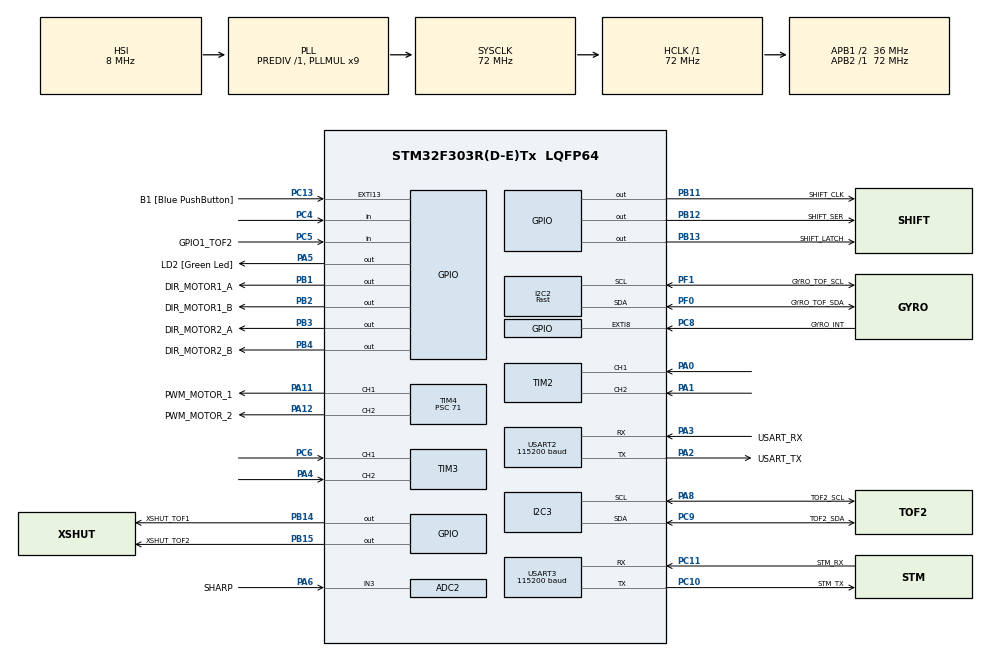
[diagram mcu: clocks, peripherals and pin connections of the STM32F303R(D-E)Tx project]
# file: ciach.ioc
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ADC2.Channel-0\#ChannelRegularConversion=ADC_CHANNEL_3
ADC2.NbrOfConversionFlag=1
ADC2.Offset-0\#ChannelRegularConversion=0
ADC2.OffsetNumber-0\#ChannelRegularConversion=ADC_OFFSET_NONE
ADC2.Rank-0\#ChannelRegularConversion=1
ADC2.SamplingTime-0\#ChannelRegularConversion=ADC_SAMPLETIME_61CYCLES_5
ADC2.SamplingTimeOPAMP-0\#ChannelRegularConversion=ADC_SAMPLETIME_61CYCLES_5
Dma.ADC2.0.Direction=DMA_PERIPH_TO_MEMORY
Dma.ADC2.0.Instance=DMA2_Channel1
Dma.ADC2.0.MemDataAlignment=DMA_MDATAALIGN_HALFWORD
Dma.ADC2.0.MemInc=DMA_MINC_DISABLE
Dma.ADC2.0.Mode=DMA_CIRCULAR
Dma.ADC2.0.PeriphDataAlignment=DMA_PDATAALIGN_HALFWORD
Dma.ADC2.0.PeriphInc=DMA_PINC_DISABLE
Dma.ADC2.0.Priority=DMA_PRIORITY_LOW
Dma.Request0=ADC2
I2C2.I2C_Speed_Mode=I2C_Fast
I2C2.Timing=0x0000020B
Mcu.Family=STM32F3
Mcu.Name=STM32F303R(D-E)Tx
Mcu.Package=LQFP64
NVIC.ADC1_2_IRQn=true\:0\:0\:false\:false\:true\:true\:true
NVIC.DMA2_Channel1_IRQn=true\:0\:0\:false\:false\:true\:false\:true
NVIC.EXTI15_10_IRQn=true\:0\:0\:false\:false\:true\:true\:true
NVIC.EXTI9_5_IRQn=true\:0\:0\:false\:false\:true\:true\:true
NVIC.PriorityGroup=NVIC_PRIORITYGROUP_0
PA0.Signal=S_TIM2_CH1_ETR
PA1.Signal=S_TIM2_CH2
PA11.GPIO_Label=PWM_MOTOR_1
PA11.GPIO_PuPd=GPIO_PULLUP
PA11.Signal=S_TIM4_CH1
PA12.GPIO_Label=PWM_MOTOR_2
PA12.GPIO_PuPd=GPIO_PULLUP
PA12.Signal=S_TIM4_CH2
PA13.GPIO_Label=TMS
PA13.Signal=SYS_JTMS-SWDIO
PA14.GPIO_Label=TCK
PA14.Signal=SYS_JTCK-SWCLK
PA2.GPIO_Label=USART_TX
PA2.GPIO_Mode=GPIO_MODE_AF_PP
PA2.GPIO_PuPd=GPIO_NOPULL
PA2.GPIO_Speed=GPIO_SPEED_FREQ_LOW
PA2.Mode=Asynchronous
PA2.Signal=USART2_TX
PA3.GPIO_Label=USART_RX
PA3.GPIO_Mode=GPIO_MODE_AF_PP
PA3.GPIO_PuPd=GPIO_NOPULL
PA3.GPIO_Speed=GPIO_SPEED_FREQ_LOW
PA3.Mode=Asynchronous
PA3.Signal=USART2_RX
PA4.Signal=S_TIM3_CH2
PA5.GPIO_Label=LD2 [Green Led]
PA5.GPIO_PuPd=GPIO_NOPULL
PA5.GPIO_Speed=GPIO_SPEED_FREQ_LOW
PA5.Signal=GPIO_Output
PA6.GPIO_Label=SHARP
PA6.Mode=IN3-Single-Ended
PA6.Signal=ADC2_IN3
PA8.GPIO_Label=TOF2_SCL
PA8.Mode=I2C
PA8.Signal=I2C3_SCL
PB1.GPIO_Label=DIR_MOTOR1_A
PB1.Signal=GPIO_Output
PB11.GPIO_Label=SHIFT_CLK
PB11.Signal=GPIO_Output
PB12.GPIO_Label=SHIFT_SER
PB12.Signal=GPIO_Output
PB13.GPIO_Label=SHIFT_LATCH
PB13.Signal=GPIO_Output
PB14.GPIO_Label=XSHUT_TOF1
PB14.Signal=GPIO_Output
PB15.GPIO_Label=XSHUT_TOF2
PB15.Signal=GPIO_Output
PB2.GPIO_Label=DIR_MOTOR1_B
PB2.Signal=GPIO_Output
PB3.GPIO_Label=DIR_MOTOR2_A
PB3.Signal=GPIO_Output
PB4.GPIO_Label=DIR_MOTOR2_B
PB4.Signal=GPIO_Output
PC10.GPIO_Label=STM_TX
PC10.Mode=Asynchronous
PC10.Signal=USART3_TX
PC11.GPIO_Label=STM_RX
PC11.Mode=Asynchronous
PC11.Signal=USART3_RX
PC13.GPIO_Label=B1 [Blue PushButton]
PC13.GPIO_ModeDefaultEXTI=GPIO_MODE_IT_FALLING
PC13.GPIO_PuPd=GPIO_PULLUP
PC13.Signal=GPXTI13
PC4.Signal=GPIO_Input
PC5.GPIO_Label=GPIO1_TOF2
PC5.Signal=GPIO_Input
PC6.Signal=S_TIM3_CH1
PC8.GPIO_Label=GYRO_INT
PC8.GPIO_PuPd=GPIO_PULLUP
PC8.Signal=GPXTI8
PC9.GPIO_Label=TOF2_SDA
PC9.Mode=I2C
PC9.Signal=I2C3_SDA
PF0-OSC_IN.GPIO_Label=GYRO_TOF_SDA
PF0-OSC_IN.Mode=I2C
PF0-OSC_IN.Signal=I2C2_SDA
PF1-OSC_OUT.GPIO_Label=GYRO_TOF_SCL
PF1-OSC_OUT.Mode=I2C
PF1-OSC_OUT.Signal=I2C2_SCL
ProjectManager.HeapSize=0x200
ProjectManager.StackSize=0x400
ProjectManager.TargetToolchain=STM32CubeIDE
RCC.AHBFreq_Value=72000000
RCC.APB1CLKDivider=RCC_HCLK_DIV2
RCC.APB1Freq_Value=36000000
RCC.APB1TimFreq_Value=72000000
RCC.APB2Freq_Value=72000000
RCC.APB2TimFreq_Value=72000000
RCC.CortexFreq_Value=72000000
RCC.HCLKFreq_Value=72000000
RCC.HSE_VALUE=8000000
RCC.HSI_VALUE=8000000
RCC.LSE_VALUE=32768
RCC.PLLM=8
RCC.PLLMUL=RCC_PLL_MUL9
RCC.PLLN=336
RCC.PLLP=RCC_PLLP_DIV4
RCC.PLLQ=7
RCC.RCC_PLLsource_Clock_Source_FROM_HSE=RCC_HSE_PREDIV_DIV2
RCC.SYSCLKFreq_VALUE=72000000
RCC.SYSCLKSourceVirtual=RCC_SYSCLKSOURCE_PLLCLK
RCC.USBFreq_Value=72000000
SH.S_TIM2_CH1_ETR.0=TIM2_CH1,Encoder_Interface
SH.S_TIM2_CH2.0=TIM2_CH2,Encoder_Interface
SH.S_TIM3_CH1.0=TIM3_CH1,Encoder_Interface
SH.S_TIM3_CH2.0=TIM3_CH2,Encoder_Interface
SH.S_TIM4_CH1.0=TIM4_CH1,PWM Generation1 CH1
SH.S_TIM4_CH2.0=TIM4_CH2,PWM Generation2 CH2
TIM2.EncoderMode=TIM_ENCODERMODE_TI1
TIM2.IC1Filter=5
TIM2.IC2Filter=5
TIM3.IC1Filter=5
TIM3.IC2Filter=5
TIM4.AutoReloadPreload=TIM_AUTORELOAD_PRELOAD_ENABLE
TIM4.Channel-PWM\ Generation1\ CH1=TIM_CHANNEL_1
TIM4.Channel-PWM\ Generation2\ CH2=TIM_CHANNEL_2
TIM4.Period=999
TIM4.Prescaler=71
TIM4.Pulse-PWM\ Generation1\ CH1=0
TIM4.Pulse-PWM\ Generation2\ CH2=0
USART2.BaudRate=115200
USART2.VirtualMode-Asynchronous=VM_ASYNC
USART3.BaudRate=115200
USART3.VirtualMode-Asynchronous=VM_ASYNC
VP_TIM4_VS_ClockSourceINT.Mode=Internal
board=NUCLEO-F303RE

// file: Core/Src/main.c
/* USER CODE BEGIN Header */
/**
  ******************************************************************************
  * @file           : main.c
  * @brief          : Main program body
  ******************************************************************************
  * @attention
  *
  * <h2><center>&copy; Copyright (c) 2024 STMicroelectronics.
  * All rights reserved.</center></h2>
  *
  * This software component is licensed by ST under BSD 3-Clause license,
  * the "License"; You may not use this file except in compliance with the
  * License. You may obtain a copy of the License at:
  *                        opensource.org/licenses/BSD-3-Clause
  *
  ******************************************************************************
  */
/* USER CODE END Header */

#include "main.h"
#include "adc.h"
#include "dma.h"
#include "i2c.h"
#include "tim.h"
#include "usart.h"
#include "gpio.h"

/* USER CODE BEGIN Includes */
#include <string.h>
#include "vl53l0x.h"
#include "mpu6050.h"
#include "stm_esp_transfer.h"
#include "sharp.h"
#include "pid.h"
#include "motor.h"
#include <stdlib.h>
/* USER CODE END Includes */

/* USER CODE BEGIN PM */
//#define CONVERT_ADC_TO_DISTANCE(adc_val)    ((37376UL / adc_val) - 4)
/* USER CODE END PM */

/* USER CODE BEGIN PV */
float acc_x, acc_y, acc_z, gyr_x, gyr_y, gyr_z, r, p;
int16_t a_x, a_y, a_z;
int tof2_distance;
volatile uint16_t adc_value;
volatile int adc_flag;
uint16_t sharp;
float roll;
float pitch;
int speed;
uint8_t xd = 69;
uint32_t adc_measurement;
volatile uint32_t distance_cm;
volatile int start_flag;
/* USER CODE END PV */

void SystemClock_Config(void);

int main(void)
{
    /* USER CODE BEGIN 1 */
     msg_t *msg = (msg_t *)malloc(sizeof(msg_t));
     pid_controller_t *pid = (pid_controller_t *)malloc(sizeof(pid_controller_t));
     motors_t *motor = (motors_t *)malloc(sizeof(motors_t));
    /* USER CODE END 1 */

    /* MCU Configuration--------------------------------------------------------*/

    /* Reset of all peripherals, Initializes the Flash interface and the Systick. */
    HAL_Init();

    /* Configure the system clock */
    SystemClock_Config();

    /* Initialize all configured peripherals */
    MX_GPIO_Init();
    MX_DMA_Init();
    MX_USART2_UART_Init();
    MX_ADC2_Init();
    MX_I2C2_Init();
    MX_I2C3_Init();
    MX_USART3_UART_Init();
    MX_TIM4_Init();
    MX_TIM2_Init();
    MX_TIM3_Init();
    /* USER CODE BEGIN 2 */

    MPU6050_Init();
    VL53L0X_Init();
    VL53L0X_Init2();
    HAL_ADC_Start_IT(&hadc2);
     MOTOR1_init(motor);
     MOTOR2_init(motor);
     msg_t_Init(msg);
    // HAL_ADC_Start_DMA(&hadc2, &adc_measurement, 1);
    // HAL_TIM_Base_Start(&htim1);
    // SHARP_Init();

    HAL_ADC_Start_IT(&hadc2);
    // HAL_ADC_Start_DMA(&hadc2, &adc_measurement, 1);
    HAL_TIM_Base_Start(&htim4);

    // SHARP_Init();

    int counter_value1 = 0;
    int past_counter_value1 = 0;
    float angle_value1 = 0;

    int counter_value2 = 0;
    int past_counter_value2 = 0;
    float angle_value2 = 0;
    int i = 0;
    msg->encoder1 = 0;
    msg->encoder2 = 0;
    pid_init(pid, 400,100,40);
    /* USER CODE END 2 */

    /* Infinite loop */
    /* USER CODE BEGIN WHILE */
    while (1)
    {

    	if(start_flag == 1){
			HAL_ADC_Start_IT(&hadc2);
			MOTOR1_read_wheel_angle(&(msg->encoder1), motor);
			MOTOR2_read_wheel_angle(&(msg->encoder2), motor);
			calculate_position(&(msg->x), &(msg->y),&(msg->angle), msg);
			//printf("%f     %d     %f     %d\r\n", (msg->encoder2), TIM3->CNT, (msg->encoder1), TIM2->CNT);

			 msg_t_SaveData(msg);

             msg_t_Transmit(msg);
          pid_calc(pid, -0.5, -0.5, msg,motor);
  //       HAL_Delay(100);
//             MOTOR1_set_speed(299, motor);
//             MOTOR2_set_speed(299, motor);

    	}
        /* USER CODE END WHILE */

    }
}

void SystemClock_Config(void)
{
    RCC_OscInitTypeDef RCC_OscInitStruct = {0};
    RCC_ClkInitTypeDef RCC_ClkInitStruct = {0};
    RCC_PeriphCLKInitTypeDef PeriphClkInit = {0};

    /** Initializes the RCC Oscillators according to the specified parameters
      * in the RCC_OscInitTypeDef structure.
      */
    RCC_OscInitStruct.OscillatorType = RCC_OSCILLATORTYPE_HSI;
    RCC_OscInitStruct.HSIState = RCC_HSI_ON;
    RCC_OscInitStruct.HSICalibrationValue = RCC_HSICALIBRATION_DEFAULT;
    RCC_OscInitStruct.PLL.PLLState = RCC_PLL_ON;
    RCC_OscInitStruct.PLL.PLLSource = RCC_PLLSOURCE_HSI;
    RCC_OscInitStruct.PLL.PLLMUL = RCC_PLL_MUL9;
    RCC_OscInitStruct.PLL.PREDIV = RCC_PREDIV_DIV1;
    if (HAL_RCC_OscConfig(&RCC_OscInitStruct) != HAL_OK)
    {
        Error_Handler();
    }
    /** Initializes the CPU, AHB and APB buses clocks
      */
    RCC_ClkInitStruct.ClockType = RCC_CLOCKTYPE_HCLK | RCC_CLOCKTYPE_SYSCLK
                                | RCC_CLOCKTYPE_PCLK1 | RCC_CLOCKTYPE_PCLK2;
    RCC_ClkInitStruct.SYSCLKSource = RCC_SYSCLKSOURCE_PLLCLK;
    RCC_ClkInitStruct.AHBCLKDivider = RCC_SYSCLK_DIV1;
    RCC_ClkInitStruct.APB1CLKDivider = RCC_HCLK_DIV2;
    RCC_ClkInitStruct.APB2CLKDivider = RCC_HCLK_DIV1;

    if (HAL_RCC_ClockConfig(&RCC_ClkInitStruct, FLASH_LATENCY_2) != HAL_OK)
    {
        Error_Handler();
    }
    PeriphClkInit.PeriphClockSelection = RCC_PERIPHCLK_USART2 | RCC_PERIPHCLK_USART3
                                        | RCC_PERIPHCLK_I2C2 | RCC_PERIPHCLK_I2C3
                                        | RCC_PERIPHCLK_ADC12 | RCC_PERIPHCLK_TIM2
                                        | RCC_PERIPHCLK_TIM34;
    PeriphClkInit.Usart2ClockSelection = RCC_USART2CLKSOURCE_PCLK1;
    PeriphClkInit.Usart3ClockSelection = RCC_USART3CLKSOURCE_PCLK1;
    PeriphClkInit.Adc12ClockSelection = RCC_ADC12PLLCLK_DIV1;
    PeriphClkInit.I2c2ClockSelection = RCC_I2C2CLKSOURCE_HSI;
    PeriphClkInit.I2c3ClockSelection = RCC_I2C3CLKSOURCE_HSI;
    PeriphClkInit.Tim2ClockSelection = RCC_TIM2CLK_HCLK;
    PeriphClkInit.Tim34ClockSelection = RCC_TIM34CLK_HCLK;
    if (HAL_RCCEx_PeriphCLKConfig(&PeriphClkInit) != HAL_OK)
    {
        Error_Handler();
    }
}

/* USER CODE BEGIN 4 */
void HAL_ADC_ConvCpltCallback(ADC_HandleTypeDef* hadc) {
    if (hadc == &hadc2) {
        adc_flag = 1;
        adc_value = HAL_ADC_GetValue(&hadc2);
    }
    // if (hadc == &hadc2) {
    //     adc_measurement = 1;
    distance_cm = HAL_ADC_GetValue(&hadc2);
    // }
}

void HAL_GPIO_EXTI_Callback(uint16_t GPIO_Pin)
{
    if (GPIO_Pin == B1_Pin) {
        if (start_flag == 0)
            start_flag = 1;
        else
            start_flag = 0;
    }
}
/* USER CODE END 4 */

void Error_Handler(void)
{
}

/************************ (C) COPYRIGHT STMicroelectronics *****END OF FILE****/
